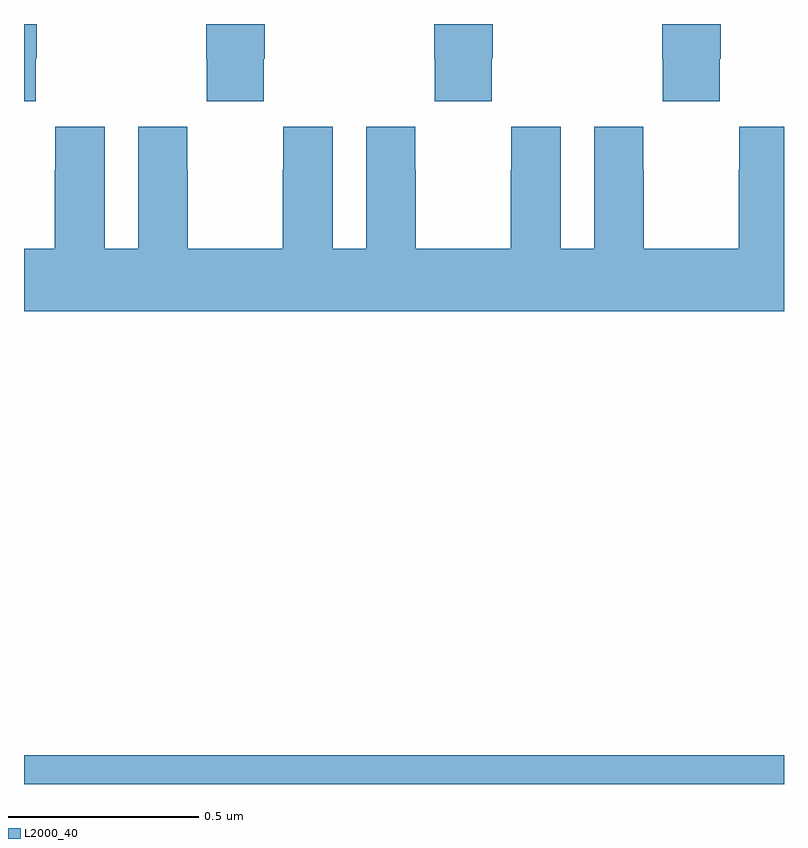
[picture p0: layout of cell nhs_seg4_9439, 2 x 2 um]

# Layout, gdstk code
import gdstk
lib = gdstk.Library(unit=1e-6, precision=1e-09)
def R(c, l, rs):  # rectangles x0, y0, x1, y1
    for r in rs: c.add(gdstk.rectangle(r[:2], r[2:], *l))
def P(c, l, *ps):  # polygons
    for p in ps: c.add(gdstk.Polygon(p, *l))
L2000_40 = (2000, 40)

nhs_seg4_9439 = lib.new_cell('nhs_seg4_9439')
R(nhs_seg4_9439, L2000_40, [(227,804.9,229,804.976)])
P(nhs_seg4_9439, L2000_40, [(227.031,806.809),(227.034,806.809),(227.034,806.9),(227,806.9),(227,806.697),(227.031,806.697)],
  [(227.631,806.809),(227.634,806.809),(227.634,806.9),(227.479,806.9),(227.479,806.809),(227.481,806.809),(227.481,806.697),(227.631,806.697)],
  [(228.231,806.809),(228.234,806.809),(228.234,806.9),(228.079,806.9),(228.079,806.809),(228.081,806.809),(228.081,806.697),(228.231,806.697)],
  [(228.831,806.809),(228.834,806.809),(228.834,806.9),(228.679,806.9),(228.679,806.809),(228.681,806.809),(228.681,806.697),(228.831,806.697)],
  [(229,806.629),(228.882,806.629),(228.882,806.516),(228.881,806.516),(228.881,806.308),(228.631,806.308),(228.631,806.516),(228.63,806.516),(228.63,806.629),(228.5,806.629),(228.5,806.308),(228.412,806.308),(228.412,806.629),(228.282,806.629),(228.282,806.516),(228.281,806.516),(228.281,806.308),(228.031,806.308),(228.031,806.516),(228.03,806.516),(228.03,806.629),(227.9,806.629),(227.9,806.308),(227.812,806.308),(227.812,806.629),(227.682,806.629),(227.682,806.516),(227.681,806.516),(227.681,806.308),(227.431,806.308),(227.431,806.516),(227.43,806.516),(227.43,806.629),(227.3,806.629),(227.3,806.308),(227.212,806.308),(227.212,806.629),(227.082,806.629),(227.082,806.516),(227.081,806.516),(227.081,806.308),(227,806.308),(227,806.144),(229,806.144)])

lib.write_gds('nhs_seg4_9439.gds')
